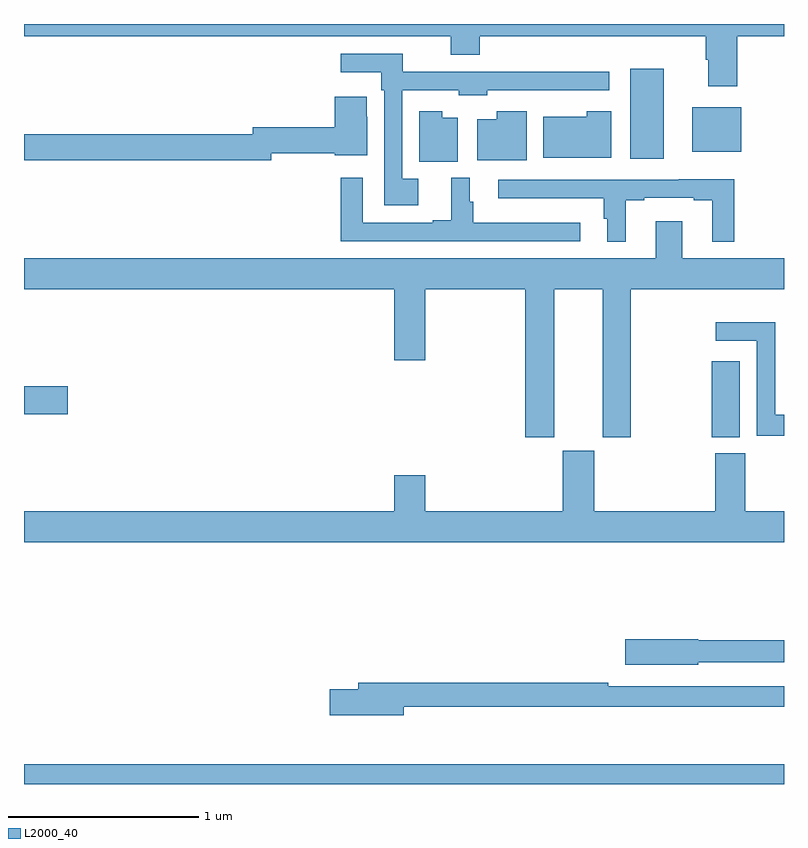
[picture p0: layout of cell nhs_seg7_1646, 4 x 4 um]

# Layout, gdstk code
import gdstk
lib = gdstk.Library(unit=1e-6, precision=1e-09)
def R(c, l, rs):  # rectangles x0, y0, x1, y1
    for r in rs: c.add(gdstk.rectangle(r[:2], r[2:], *l))
def P(c, l, *ps):  # polygons
    for p in ps: c.add(gdstk.Polygon(p, *l))
L2000_40 = (2000, 40)

nhs_seg7_1646 = lib.new_cell('nhs_seg7_1646')
R(nhs_seg7_1646, L2000_40, [(223,1010,227,1010.104), (226.621,1011.826,226.768,1012.225), (223,1011.947,223.231,1012.094), (226.19,1013.291,226.366,1013.764), (226.517,1013.327,226.774,1013.563)])
P(nhs_seg7_1646, L2000_40, [(223,1013.936),(225.245,1013.936),(225.245,1013.837),(225.398,1013.837),(225.398,1013.936),(226.589,1013.936),(226.589,1013.813),(226.601,1013.813),(226.601,1013.673),(226.754,1013.673),(226.754,1013.936),(227,1013.936),(227,1014),(223,1014)],
  [(225.076,1013.185),(224.991,1013.185),(224.991,1013.652),(225.288,1013.652),(225.288,1013.624),(225.438,1013.624),(225.438,1013.652),(225.742,1013.652),(225.742,1013.651),(226.081,1013.651),(226.081,1013.75),(224.994,1013.75),(224.994,1013.844),(224.667,1013.844),(224.667,1013.747),(224.879,1013.747),(224.879,1013.651),(224.895,1013.651),(224.895,1013.045),(225.076,1013.045)],
  [(224.301,1013.32),(224.636,1013.32),(224.636,1013.309),(224.806,1013.309),(224.806,1013.513),(224.805,1013.513),(224.805,1013.616),(224.636,1013.616),(224.636,1013.456),(224.205,1013.456),(224.205,1013.42),(223,1013.42),(223,1013.284),(224.301,1013.284)],
  [(225.283,1013.506),(225.202,1013.506),(225.202,1013.542),(225.08,1013.542),(225.08,1013.276),(225.283,1013.276)],
  [(225.646,1013.542),(225.489,1013.542),(225.489,1013.5),(225.386,1013.5),(225.386,1013.282),(225.646,1013.282)],
  [(226.09,1013.542),(225.961,1013.542),(225.961,1013.512),(225.734,1013.512),(225.734,1013.297),(226.09,1013.297)],
  [(225.928,1012.954),(225.365,1012.954),(225.365,1013.064),(225.346,1013.064),(225.346,1013.191),(225.248,1013.191),(225.248,1012.966),(225.152,1012.966),(225.152,1012.953),(224.784,1012.953),(224.784,1013.191),(224.668,1013.191),(224.668,1012.857),(225.928,1012.857)],
  [(226.168,1013.073),(226.264,1013.073),(226.264,1013.085),(226.526,1013.085),(226.526,1013.073),(226.622,1013.073),(226.622,1012.853),(226.739,1012.853),(226.739,1013.182),(226.447,1013.182),(226.447,1013.181),(225.495,1013.181),(225.495,1013.084),(226.051,1013.084),(226.051,1012.974),(226.07,1012.974),(226.07,1012.853),(226.168,1012.853)],
  [(225.79,1012.604),(226.046,1012.604),(226.046,1011.825),(226.194,1011.825),(226.194,1012.604),(227,1012.604),(227,1012.768),(226.465,1012.768),(226.465,1012.963),(226.325,1012.963),(226.325,1012.768),(223,1012.768),(223,1012.604),(224.948,1012.604),(224.948,1012.23),(225.112,1012.23),(225.112,1012.604),(225.638,1012.604),(225.638,1011.825),(225.79,1011.825)],
  [(227,1011.943),(226.953,1011.943),(226.953,1012.429),(226.641,1012.429),(226.641,1012.332),(226.857,1012.332),(226.857,1011.832),(227,1011.832)],
  [(227,1011.436),(226.797,1011.436),(226.797,1011.741),(226.637,1011.741),(226.637,1011.436),(226,1011.436),(226,1011.753),(225.836,1011.753),(225.836,1011.436),(225.112,1011.436),(225.112,1011.625),(224.948,1011.625),(224.948,1011.436),(223,1011.436),(223,1011.272),(227,1011.272)],
  [(226.548,1010.64),(227,1010.64),(227,1010.756),(226.548,1010.756),(226.548,1010.762),(226.164,1010.762),(226.164,1010.627),(226.548,1010.627)],
  [(224.998,1010.406),(227,1010.406),(227,1010.514),(226.076,1010.514),(226.076,1010.534),(224.759,1010.534),(224.759,1010.498),(224.61,1010.498),(224.61,1010.363),(224.998,1010.363)])

lib.write_gds('nhs_seg7_1646.gds')
